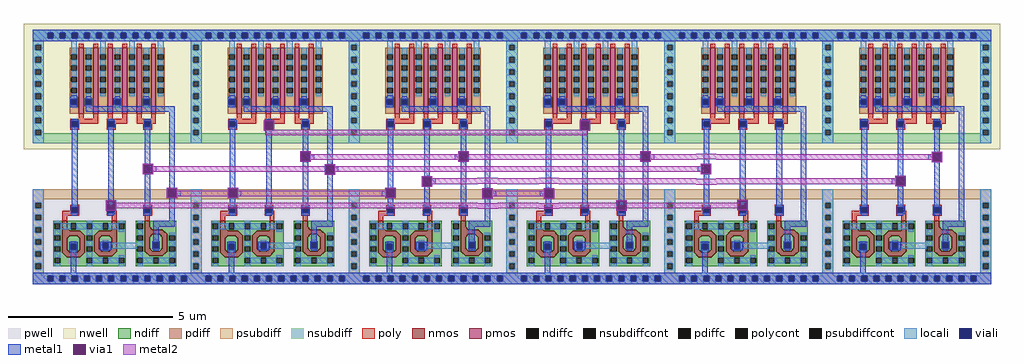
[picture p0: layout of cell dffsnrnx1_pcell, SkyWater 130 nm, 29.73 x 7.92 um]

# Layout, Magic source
magic
tech sky130A
magscale 1 2
<< metal1 >>
rect 1373 957 1437 963
rect 1373 905 1379 957
rect 1431 905 1437 957
rect 1373 899 1437 905
rect 3299 957 3363 963
rect 3299 905 3305 957
rect 3357 905 3363 957
rect 3299 899 3363 905
rect 1596 769 1660 775
rect 1596 717 1602 769
rect 1654 717 1660 769
rect 1596 711 1660 717
rect 2558 769 2622 775
rect 2558 717 2564 769
rect 2616 717 2622 769
rect 2558 711 2622 717
rect 3666 769 3730 775
rect 3666 717 3672 769
rect 3724 717 3730 769
rect 3666 711 3730 717
rect 5444 767 5508 773
rect 5444 715 5450 767
rect 5502 715 5508 767
rect 5444 709 5508 715
rect 636 693 700 699
rect 636 641 642 693
rect 694 641 700 693
rect 636 635 700 641
rect 1744 689 1808 695
rect 1744 637 1750 689
rect 1802 637 1808 689
rect 1744 631 1808 637
rect 4037 692 4101 698
rect 4037 640 4043 692
rect 4095 640 4101 692
rect 4037 634 4101 640
rect 2336 615 2400 621
rect 2336 563 2342 615
rect 2394 563 2400 615
rect 2336 557 2400 563
rect 5222 619 5286 625
rect 5222 567 5228 619
rect 5280 567 5286 619
rect 5222 561 5286 567
rect 783 547 847 553
rect 783 495 789 547
rect 841 495 847 547
rect 783 489 847 495
rect 1153 547 1217 553
rect 1153 495 1159 547
rect 1211 495 1217 547
rect 1153 489 1217 495
rect 2114 547 2178 553
rect 2114 495 2120 547
rect 2172 495 2178 547
rect 2114 489 2178 495
rect 2706 544 2770 550
rect 2706 492 2712 544
rect 2764 492 2770 544
rect 2706 486 2770 492
rect 3078 544 3142 550
rect 3078 492 3084 544
rect 3136 492 3142 544
rect 3078 486 3142 492
rect 412 470 476 476
rect 412 418 418 470
rect 470 418 476 470
rect 412 412 476 418
rect 3521 471 3585 477
rect 3521 419 3527 471
rect 3579 419 3585 471
rect 3521 413 3585 419
rect 4259 472 4323 478
rect 4259 420 4265 472
rect 4317 420 4323 472
rect 4259 414 4323 420
<< via1 >>
rect 1379 905 1431 957
rect 3305 905 3357 957
rect 1602 717 1654 769
rect 2564 717 2616 769
rect 3672 717 3724 769
rect 5450 715 5502 767
rect 642 641 694 693
rect 1750 637 1802 689
rect 4043 640 4095 692
rect 2342 563 2394 615
rect 5228 567 5280 619
rect 789 495 841 547
rect 1159 495 1211 547
rect 2120 495 2172 547
rect 2712 492 2764 544
rect 3084 492 3136 544
rect 418 418 470 470
rect 3527 419 3579 471
rect 4265 420 4317 472
<< metal2 >>
rect 1373 957 1437 963
rect 1373 905 1379 957
rect 1431 905 1437 957
rect 3299 957 3363 963
rect 3299 905 3305 957
rect 3357 905 3363 957
rect 1373 899 3363 905
rect 1382 871 3343 899
rect 1596 769 1660 775
rect 1596 717 1602 769
rect 1654 757 1660 769
rect 2558 769 2622 775
rect 2558 757 2564 769
rect 1654 723 2564 757
rect 1654 717 1660 723
rect 1596 711 1660 717
rect 2558 717 2564 723
rect 2616 757 2622 769
rect 3666 769 3730 775
rect 3666 757 3672 769
rect 2616 723 3672 757
rect 2616 717 2622 723
rect 2558 711 2622 717
rect 3666 717 3672 723
rect 3724 757 3730 769
rect 5444 767 5508 773
rect 4009 757 4129 760
rect 5444 757 5450 767
rect 3724 726 5450 757
rect 3724 723 4009 726
rect 4129 723 5450 726
rect 3724 717 3730 723
rect 3666 711 3730 717
rect 5444 715 5450 723
rect 5502 715 5508 767
rect 5444 709 5508 715
rect 636 693 700 699
rect 636 641 642 693
rect 694 683 700 693
rect 1744 689 1808 695
rect 1744 683 1750 689
rect 694 649 1750 683
rect 694 641 700 649
rect 636 635 700 641
rect 1744 637 1750 649
rect 1802 683 1808 689
rect 4037 692 4101 698
rect 4037 683 4043 692
rect 1802 649 4043 683
rect 1802 637 1808 649
rect 1744 631 1808 637
rect 4037 640 4043 649
rect 4095 640 4101 692
rect 4037 634 4101 640
rect 2336 615 2400 621
rect 2336 563 2342 615
rect 2394 609 2400 615
rect 5222 619 5286 625
rect 2678 609 2798 612
rect 3050 609 3170 612
rect 5222 609 5228 619
rect 2394 606 4009 609
rect 4129 606 5228 609
rect 2394 578 5228 606
rect 2394 575 2678 578
rect 2798 575 3050 578
rect 3170 575 5228 578
rect 2394 563 2400 575
rect 4009 572 4129 575
rect 2336 557 2400 563
rect 5222 567 5228 575
rect 5280 567 5286 619
rect 5222 561 5286 567
rect 783 547 847 553
rect 783 495 789 547
rect 841 535 847 547
rect 1153 547 1217 553
rect 1153 535 1159 547
rect 841 501 1159 535
rect 841 495 847 501
rect 783 489 847 495
rect 1153 495 1159 501
rect 1211 535 1217 547
rect 2114 547 2178 553
rect 2114 535 2120 547
rect 1211 501 2120 535
rect 1211 495 1217 501
rect 1153 489 1217 495
rect 2114 495 2120 501
rect 2172 495 2178 547
rect 2114 489 2178 495
rect 2706 544 2770 550
rect 2706 492 2712 544
rect 2764 535 2770 544
rect 3078 544 3142 550
rect 3078 535 3084 544
rect 2764 501 3084 535
rect 2764 492 2770 501
rect 2706 486 2770 492
rect 3078 492 3084 501
rect 3136 492 3142 544
rect 3078 486 3142 492
rect 412 470 476 476
rect 412 418 418 470
rect 470 461 476 470
rect 3521 471 3585 477
rect 3521 461 3527 471
rect 470 458 2678 461
rect 2798 458 3050 461
rect 3170 458 3527 461
rect 470 427 3527 458
rect 470 418 476 427
rect 2678 424 2798 427
rect 3050 424 3170 427
rect 412 412 476 418
rect 3521 419 3527 427
rect 3579 461 3585 471
rect 4259 472 4323 478
rect 4259 461 4265 472
rect 3579 427 4265 461
rect 3579 419 3585 427
rect 3521 413 3585 419
rect 4259 420 4265 427
rect 4317 420 4323 472
rect 4259 414 4323 420
use li1_M1_contact  li1_M1_contact_1
transform -1 0 666 0 -1 666
box -53 -33 29 33
use li1_M1_contact  li1_M1_contact_3
transform -1 0 814 0 -1 518
box -53 -33 29 33
use li1_M1_contact  li1_M1_contact_4
transform -1 0 1628 0 -1 740
box -53 -33 29 33
use li1_M1_contact  li1_M1_contact_5
transform -1 0 1184 0 -1 518
box -53 -33 29 33
use li1_M1_contact  li1_M1_contact_7
transform -1 0 1776 0 -1 666
box -53 -33 29 33
use li1_M1_contact  li1_M1_contact_8
transform 1 0 2146 0 1 518
box -53 -33 29 33
use li1_M1_contact  li1_M1_contact_9
transform 1 0 2590 0 1 740
box -53 -33 29 33
use li1_M1_contact  li1_M1_contact_10
transform -1 0 2368 0 -1 592
box -53 -33 29 33
use li1_M1_contact  li1_M1_contact_11
transform -1 0 2738 0 -1 518
box -53 -33 29 33
use li1_M1_contact  li1_M1_contact_13
transform -1 0 3700 0 -1 740
box -53 -33 29 33
use li1_M1_contact  li1_M1_contact_17
transform 1 0 3108 0 1 518
box -53 -33 29 33
use li1_M1_contact  li1_M1_contact_19
transform 1 0 4070 0 1 666
box -53 -33 29 33
use li1_M1_contact  li1_M1_contact_20
transform 1 0 5476 0 1 740
box -53 -33 29 33
use li1_M1_contact  li1_M1_contact_22
transform 1 0 5254 0 1 592
box -53 -33 29 33
use nand3x1_pcell  nand3x1_pcell_0
transform 1 0 0 0 1 0
box -87 -34 1049 1550
use nand3x1_pcell  nand3x1_pcell_1
transform 1 0 962 0 1 0
box -87 -34 1049 1550
use nand3x1_pcell  nand3x1_pcell_2
transform 1 0 1924 0 1 0
box -87 -34 1049 1550
use nand3x1_pcell  nand3x1_pcell_3
transform 1 0 2886 0 1 0
box -87 -34 1049 1550
use nand3x1_pcell  nand3x1_pcell_4
transform 1 0 3848 0 1 0
box -87 -34 1049 1550
use nand3x1_pcell  nand3x1_pcell_5
transform 1 0 4810 0 1 0
box -87 -34 1049 1550
<< end >>

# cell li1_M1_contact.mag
magic
tech sky130A
magscale 1 2
<< locali >>
rect -17 17 17 33
rect -17 -33 17 -17
<< viali >>
rect -17 -17 17 17
<< metal1 >>
rect -23 17 23 23
rect -53 -17 -17 17
rect 17 -17 29 17
rect -23 -23 23 -17
<< end >>

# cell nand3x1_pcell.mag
magic
tech sky130A
magscale 1 2
<< nwell >>
rect 87 1099 875 1550
rect 87 1093 220 1099
rect 87 1059 205 1093
rect 229 1059 263 1093
rect 87 1056 220 1059
rect 279 1056 875 1099
rect 87 786 875 1056
<< pwell >>
rect 34 -34 928 544
<< pdiffc >>
rect 201 1059 235 1093
rect 289 1059 323 1093
rect 465 1059 499 1093
rect 641 1059 675 1093
<< psubdiff >>
rect 34 482 928 544
rect 34 -17 57 17
rect 91 -17 131 17
rect 165 -17 205 17
rect 239 -17 279 17
rect 313 -17 353 17
rect 387 -17 427 17
rect 461 -17 501 17
rect 535 -17 575 17
rect 609 -17 649 17
rect 683 -17 723 17
rect 757 -17 797 17
rect 831 -17 871 17
rect 905 -17 928 17
rect 34 -34 928 -17
<< nsubdiff >>
rect 34 1497 928 1514
rect 34 1463 57 1497
rect 91 1463 131 1497
rect 165 1463 205 1497
rect 239 1463 279 1497
rect 313 1463 353 1497
rect 387 1463 427 1497
rect 461 1463 501 1497
rect 535 1463 575 1497
rect 609 1463 649 1497
rect 683 1463 723 1497
rect 757 1463 797 1497
rect 831 1463 871 1497
rect 905 1463 928 1497
rect 34 822 928 884
<< psubdiffcont >>
rect 57 -17 91 17
rect 131 -17 165 17
rect 205 -17 239 17
rect 279 -17 313 17
rect 353 -17 387 17
rect 427 -17 461 17
rect 501 -17 535 17
rect 575 -17 609 17
rect 649 -17 683 17
rect 723 -17 757 17
rect 797 -17 831 17
rect 871 -17 905 17
<< nsubdiffcont >>
rect 57 1463 91 1497
rect 131 1463 165 1497
rect 205 1463 239 1497
rect 279 1463 313 1497
rect 353 1463 387 1497
rect 427 1463 461 1497
rect 501 1463 535 1497
rect 575 1463 609 1497
rect 649 1463 683 1497
rect 723 1463 757 1497
rect 797 1463 831 1497
rect 871 1463 905 1497
<< poly >>
rect 147 383 195 413
rect 471 383 477 413
rect 147 377 177 383
rect 447 377 477 383
<< locali >>
rect 14 1497 943 1514
rect 14 1463 57 1497
rect 91 1463 131 1497
rect 165 1463 205 1497
rect 239 1463 279 1497
rect 313 1463 353 1497
rect 387 1463 427 1497
rect 461 1463 501 1497
rect 535 1463 575 1497
rect 609 1463 649 1497
rect 683 1463 723 1497
rect 757 1463 797 1497
rect 831 1463 871 1497
rect 905 1463 943 1497
rect 14 1446 943 1463
rect 201 1093 235 1120
rect 201 1043 235 1059
rect 289 1093 323 1112
rect 289 1043 323 1059
rect 465 1093 499 1117
rect 465 1043 499 1059
rect 641 1093 675 1112
rect 641 1043 675 1059
rect 427 182 603 216
rect 34 17 930 34
rect 34 -17 57 17
rect 91 -17 131 17
rect 165 -17 205 17
rect 239 -17 279 17
rect 313 -17 353 17
rect 387 -17 427 17
rect 461 -17 501 17
rect 535 -17 575 17
rect 609 -17 649 17
rect 683 -17 723 17
rect 757 -17 797 17
rect 831 -17 871 17
rect 905 -17 930 17
rect 34 -34 930 -17
<< viali >>
rect 57 1463 91 1497
rect 131 1463 165 1497
rect 205 1463 239 1497
rect 279 1463 313 1497
rect 353 1463 387 1497
rect 427 1463 461 1497
rect 501 1463 535 1497
rect 575 1463 609 1497
rect 649 1463 683 1497
rect 723 1463 757 1497
rect 797 1463 831 1497
rect 871 1463 905 1497
rect 201 1059 235 1093
rect 289 1059 323 1093
rect 465 1059 499 1093
rect 641 1059 675 1093
rect 205 923 239 957
rect 427 923 461 957
rect 649 923 683 957
rect 205 399 239 433
rect 427 399 461 433
rect 649 399 683 433
rect 198 176 232 210
rect 393 182 427 216
rect 700 185 734 219
rect 57 -17 91 17
rect 131 -17 165 17
rect 205 -17 239 17
rect 279 -17 313 17
rect 353 -17 387 17
rect 427 -17 461 17
rect 501 -17 535 17
rect 575 -17 609 17
rect 649 -17 683 17
rect 723 -17 757 17
rect 797 -17 831 17
rect 871 -17 905 17
<< metal1 >>
rect 34 1497 928 1514
rect 34 1463 57 1497
rect 91 1463 131 1497
rect 165 1463 205 1497
rect 239 1463 279 1497
rect 313 1463 353 1497
rect 387 1463 427 1497
rect 461 1463 501 1497
rect 535 1463 575 1497
rect 609 1463 649 1497
rect 683 1463 723 1497
rect 757 1463 797 1497
rect 831 1463 871 1497
rect 905 1463 928 1497
rect 34 1446 928 1463
rect 201 1107 235 1116
rect 193 1093 241 1107
rect 289 1099 323 1111
rect 465 1099 499 1111
rect 641 1099 675 1111
rect 193 1059 201 1093
rect 235 1059 241 1093
rect 193 1043 241 1059
rect 283 1093 330 1099
rect 283 1059 289 1093
rect 323 1059 330 1093
rect 283 1048 330 1059
rect 458 1093 506 1099
rect 458 1059 465 1093
rect 499 1059 506 1093
rect 458 1048 506 1059
rect 635 1093 681 1099
rect 635 1059 641 1093
rect 675 1059 681 1093
rect 635 1048 681 1059
rect 289 1014 831 1048
rect 205 967 239 969
rect 198 957 246 967
rect 427 963 461 969
rect 649 963 683 969
rect 198 923 205 957
rect 239 923 246 957
rect 198 915 246 923
rect 421 957 467 963
rect 421 923 427 957
rect 461 923 467 957
rect 421 917 467 923
rect 643 957 689 963
rect 643 923 649 957
rect 683 923 689 957
rect 205 439 239 915
rect 427 439 461 917
rect 643 914 689 923
rect 649 439 683 914
rect 199 433 245 439
rect 199 399 205 433
rect 239 399 245 433
rect 199 391 245 399
rect 421 433 468 439
rect 421 399 427 433
rect 461 399 468 433
rect 421 391 468 399
rect 643 433 689 439
rect 643 399 649 433
rect 683 399 689 433
rect 643 391 689 399
rect 205 383 239 391
rect 427 383 461 391
rect 649 383 683 391
rect 797 350 831 1014
rect 700 316 831 350
rect 700 225 734 316
rect 189 210 241 222
rect 189 176 198 210
rect 232 176 241 210
rect 189 167 241 176
rect 378 216 445 223
rect 378 182 393 216
rect 427 182 445 216
rect 378 173 445 182
rect 694 219 740 225
rect 694 185 700 219
rect 734 185 740 219
rect 694 179 740 185
rect 700 173 734 179
rect 198 34 232 167
rect 34 17 928 34
rect 34 -17 57 17
rect 91 -17 131 17
rect 165 -17 205 17
rect 239 -17 279 17
rect 313 -17 353 17
rect 387 -17 427 17
rect 461 -17 501 17
rect 535 -17 575 17
rect 609 -17 649 17
rect 683 -17 723 17
rect 757 -17 797 17
rect 831 -17 871 17
rect 905 -17 928 17
rect 34 -34 928 -17
use diff_ring_side  diff_ring_side_0
transform 1 0 962 0 1 0
box -87 -34 87 1550
use diff_ring_side  diff_ring_side_1
transform 1 0 0 0 1 0
box -87 -34 87 1550
use nmos_bottom  nmos_bottom_0
transform -1 0 339 0 1 75
box 0 0 248 302
use nmos_side_left  nmos_side_left_0
transform 1 0 285 0 1 75
box 0 0 248 302
use nmos_top_trim1  nmos_top_trim1_0
transform -1 0 841 0 1 75
box 0 0 248 309
use pmos2  pmos2_0
transform 1 0 103 0 1 1404
box 52 -461 352 42
use pmos2  pmos2_1
transform 1 0 279 0 1 1404
box 52 -461 352 42
use pmos2  pmos2_2
transform 1 0 455 0 1 1404
box 52 -461 352 42
use poly_li1_contact  poly_li1_contact_0
transform 0 1 223 -1 0 941
box -32 -28 34 26
use poly_li1_contact  poly_li1_contact_1
transform 0 -1 221 1 0 415
box -32 -28 34 26
use poly_li1_contact  poly_li1_contact_2
transform 0 -1 443 1 0 415
box -32 -28 34 26
use poly_li1_contact  poly_li1_contact_3
transform 0 -1 443 1 0 939
box -32 -28 34 26
use poly_li1_contact  poly_li1_contact_4
transform 0 -1 665 1 0 415
box -32 -28 34 26
use poly_li1_contact  poly_li1_contact_5
transform 0 1 667 -1 0 941
box -32 -28 34 26
<< end >>

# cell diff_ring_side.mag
magic
tech sky130A
magscale 1 2
<< nwell >>
rect -87 786 87 1550
<< pwell >>
rect -34 -34 34 544
<< psubdiff >>
rect -34 461 34 544
rect -34 427 -17 461
rect 17 427 34 461
rect -34 387 34 427
rect -34 353 -17 387
rect 17 353 34 387
rect -34 313 34 353
rect -34 279 -17 313
rect 17 279 34 313
rect -34 239 34 279
rect -34 205 -17 239
rect 17 205 34 239
rect -34 165 34 205
rect -34 131 -17 165
rect 17 131 34 165
rect -34 91 34 131
rect -34 57 -17 91
rect 17 57 34 91
rect -34 -34 34 57
<< nsubdiff >>
rect -34 1423 34 1514
rect -34 1389 -17 1423
rect 17 1389 34 1423
rect -34 1349 34 1389
rect -34 1315 -17 1349
rect 17 1315 34 1349
rect -34 1275 34 1315
rect -34 1241 -17 1275
rect 17 1241 34 1275
rect -34 1201 34 1241
rect -34 1167 -17 1201
rect 17 1167 34 1201
rect -34 1127 34 1167
rect -34 1093 -17 1127
rect 17 1093 34 1127
rect -34 1053 34 1093
rect -34 1019 -17 1053
rect 17 1019 34 1053
rect -34 979 34 1019
rect -34 945 -17 979
rect 17 945 34 979
rect -34 905 34 945
rect -34 871 -17 905
rect 17 871 34 905
rect -34 822 34 871
<< psubdiffcont >>
rect -17 427 17 461
rect -17 353 17 387
rect -17 279 17 313
rect -17 205 17 239
rect -17 131 17 165
rect -17 57 17 91
<< nsubdiffcont >>
rect -17 1389 17 1423
rect -17 1315 17 1349
rect -17 1241 17 1275
rect -17 1167 17 1201
rect -17 1093 17 1127
rect -17 1019 17 1053
rect -17 945 17 979
rect -17 871 17 905
<< locali >>
rect -34 1423 34 1514
rect -34 1389 -17 1423
rect 17 1389 34 1423
rect -34 1349 34 1389
rect -34 1315 -17 1349
rect 17 1315 34 1349
rect -34 1275 34 1315
rect -34 1241 -17 1275
rect 17 1241 34 1275
rect -34 1201 34 1241
rect -34 1167 -17 1201
rect 17 1167 34 1201
rect -34 1127 34 1167
rect -34 1093 -17 1127
rect 17 1093 34 1127
rect -34 1053 34 1093
rect -34 1019 -17 1053
rect 17 1019 34 1053
rect -34 979 34 1019
rect -34 945 -17 979
rect 17 945 34 979
rect -34 905 34 945
rect -34 871 -17 905
rect 17 871 34 905
rect -34 822 34 871
rect -34 461 34 544
rect -34 427 -17 461
rect 17 427 34 461
rect -34 387 34 427
rect -34 353 -17 387
rect 17 353 34 387
rect -34 313 34 353
rect -34 279 -17 313
rect 17 279 34 313
rect -34 239 34 279
rect -34 205 -17 239
rect 17 205 34 239
rect -34 165 34 205
rect -34 131 -17 165
rect 17 131 34 165
rect -34 91 34 131
rect -34 57 -17 91
rect 17 57 34 91
rect -34 -34 34 57
<< metal1 >>
rect -34 1446 34 1514
rect -34 -34 34 34
<< end >>

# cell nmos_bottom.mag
magic
tech sky130A
magscale 1 2
<< nmos >>
tri 146 215 162 231 se
rect 162 215 192 276
tri 56 185 86 215 se
rect 86 185 192 215
rect 56 84 86 185
tri 86 169 102 185 nw
tri 146 169 162 185 ne
tri 86 84 102 100 sw
tri 146 84 162 100 se
rect 162 84 192 185
tri 56 54 86 84 ne
rect 86 54 162 84
tri 162 54 192 84 nw
<< ndiff >>
rect 0 260 162 276
rect 0 226 10 260
rect 44 226 107 260
rect 141 231 162 260
rect 141 226 146 231
rect 0 215 146 226
tri 146 215 162 231 nw
rect 192 260 248 276
rect 192 226 204 260
rect 238 226 248 260
rect 0 188 56 215
rect 0 154 10 188
rect 44 154 56 188
tri 56 185 86 215 nw
rect 192 188 248 226
rect 0 120 56 154
rect 0 86 10 120
rect 44 86 56 120
rect 0 54 56 86
tri 86 169 102 185 se
rect 102 169 146 185
tri 146 169 162 185 sw
rect 86 135 162 169
rect 86 101 107 135
rect 141 101 162 135
rect 86 100 162 101
tri 86 84 102 100 ne
rect 102 84 146 100
tri 146 84 162 100 nw
rect 192 154 204 188
rect 238 154 248 188
rect 192 120 248 154
rect 192 86 204 120
rect 238 86 248 120
tri 56 54 86 84 sw
tri 162 54 192 84 se
rect 192 54 248 86
rect 0 50 248 54
rect 0 16 10 50
rect 44 16 204 50
rect 238 16 248 50
rect 0 0 248 16
<< ndiffc >>
rect 10 226 44 260
rect 107 226 141 260
rect 204 226 238 260
rect 10 154 44 188
rect 10 86 44 120
rect 107 101 141 135
rect 204 154 238 188
rect 204 86 238 120
rect 10 16 44 50
rect 204 16 238 50
<< poly >>
rect 162 276 192 302
<< locali >>
rect 10 260 44 276
rect 204 260 238 276
rect 44 226 107 260
rect 141 226 204 260
rect 10 188 44 226
rect 10 120 44 154
rect 204 188 238 226
rect 10 50 44 86
rect 107 135 141 151
rect 107 85 141 101
rect 204 120 238 154
rect 10 0 44 16
rect 204 50 238 86
rect 204 0 238 16
<< end >>

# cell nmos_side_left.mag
magic
tech sky130
magscale 1 2
<< nmos >>
rect 162 215 192 276
tri 57 185 87 215 se
rect 87 185 192 215
rect 57 91 87 185
tri 87 169 103 185 nw
tri 146 169 162 185 ne
tri 87 91 103 107 sw
tri 146 91 162 107 se
rect 162 91 192 185
tri 57 61 87 91 ne
rect 87 61 162 91
tri 162 61 192 91 nw
<< ndiff >>
rect 0 260 162 276
rect 0 226 10 260
rect 44 226 107 260
rect 141 226 162 260
rect 0 215 162 226
rect 192 260 248 276
rect 192 226 204 260
rect 238 226 248 260
rect 0 188 57 215
rect 0 154 10 188
rect 44 154 57 188
tri 57 185 87 215 nw
rect 0 120 57 154
rect 0 86 10 120
rect 44 86 57 120
tri 87 169 103 185 se
rect 103 169 146 185
tri 146 169 162 185 sw
rect 87 141 162 169
rect 87 107 108 141
rect 142 107 162 141
tri 87 91 103 107 ne
rect 103 91 146 107
tri 146 91 162 107 nw
rect 0 61 57 86
tri 57 61 87 91 sw
tri 162 61 192 91 se
rect 192 61 248 226
rect 0 50 248 61
rect 0 16 10 50
rect 44 16 107 50
rect 141 16 204 50
rect 238 16 248 50
rect 0 0 248 16
<< ndiffc >>
rect 10 226 44 260
rect 107 226 141 260
rect 204 226 238 260
rect 10 154 44 188
rect 10 86 44 120
rect 108 107 142 141
rect 10 16 44 50
rect 107 16 141 50
rect 204 16 238 50
<< poly >>
rect 162 276 192 302
<< locali >>
rect 10 260 44 276
rect 204 260 238 276
rect 44 226 107 260
rect 141 226 204 260
rect 10 188 44 226
rect 204 210 238 226
rect 10 120 44 154
rect 108 141 142 157
rect 108 91 142 107
rect 10 50 44 86
rect 204 50 238 66
rect 44 16 107 50
rect 141 16 204 50
rect 10 0 44 16
rect 204 0 238 16
<< end >>

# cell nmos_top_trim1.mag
magic
tech sky130
magscale 1 2
<< nmos >>
tri 146 223 162 239 se
rect 162 223 192 276
tri 56 193 86 223 se
rect 86 193 192 223
rect 56 92 86 193
tri 86 177 102 193 nw
tri 146 177 162 193 ne
tri 86 92 102 108 sw
tri 146 92 162 108 se
rect 162 92 192 193
tri 56 62 86 92 ne
rect 86 62 162 92
tri 162 62 192 92 nw
<< ndiff >>
rect 0 239 162 276
rect 0 223 146 239
tri 146 223 162 239 nw
rect 192 260 248 276
rect 192 226 204 260
rect 238 226 248 260
rect 0 188 56 223
tri 56 193 86 223 nw
rect 0 154 10 188
rect 44 154 56 188
rect 0 120 56 154
rect 0 86 10 120
rect 44 86 56 120
tri 86 177 102 193 se
rect 102 177 146 193
tri 146 177 162 193 sw
rect 86 144 162 177
rect 86 110 107 144
rect 141 110 162 144
rect 86 108 162 110
tri 86 92 102 108 ne
rect 102 92 146 108
tri 146 92 162 108 nw
rect 192 188 248 226
rect 192 154 204 188
rect 238 154 248 188
rect 192 120 248 154
rect 0 62 56 86
tri 56 62 86 92 sw
tri 162 62 192 92 se
rect 192 86 204 120
rect 238 86 248 120
rect 192 62 248 86
rect 0 50 248 62
rect 0 16 10 50
rect 44 16 107 50
rect 141 16 204 50
rect 238 16 248 50
rect 0 0 248 16
<< ndiffc >>
rect 204 226 238 260
rect 10 154 44 188
rect 10 86 44 120
rect 107 110 141 144
rect 204 154 238 188
rect 204 86 238 120
rect 10 16 44 50
rect 107 16 141 50
rect 204 16 238 50
<< poly >>
rect 162 276 192 309
<< locali >>
rect 204 260 238 276
rect 10 188 44 204
rect 204 188 238 226
rect 10 120 44 154
rect 107 144 141 161
rect 107 94 141 110
rect 204 120 238 154
rect 10 50 44 86
rect 204 50 238 86
rect 44 16 107 50
rect 141 16 204 50
rect 10 0 44 16
rect 204 0 238 16
<< end >>

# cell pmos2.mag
magic
tech sky130A
magscale 1 2
<< nwell >>
rect 52 -436 352 36
<< pmos >>
rect 144 -400 174 0
rect 232 -400 262 0
<< pdiff >>
rect 88 -38 144 0
rect 88 -72 98 -38
rect 132 -72 144 -38
rect 88 -106 144 -72
rect 88 -140 98 -106
rect 132 -140 144 -106
rect 88 -174 144 -140
rect 88 -208 98 -174
rect 132 -208 144 -174
rect 88 -242 144 -208
rect 88 -276 98 -242
rect 132 -276 144 -242
rect 88 -400 144 -276
rect 174 -38 232 0
rect 174 -72 186 -38
rect 220 -72 232 -38
rect 174 -106 232 -72
rect 174 -140 186 -106
rect 220 -140 232 -106
rect 174 -174 232 -140
rect 174 -208 186 -174
rect 220 -208 232 -174
rect 174 -242 232 -208
rect 174 -276 186 -242
rect 220 -276 232 -242
rect 174 -400 232 -276
rect 262 -38 316 0
rect 262 -72 274 -38
rect 308 -72 316 -38
rect 262 -106 316 -72
rect 262 -140 274 -106
rect 308 -140 316 -106
rect 262 -174 316 -140
rect 262 -208 274 -174
rect 308 -208 316 -174
rect 262 -242 316 -208
rect 262 -276 274 -242
rect 308 -276 316 -242
rect 262 -400 316 -276
<< pdiffc >>
rect 98 -72 132 -38
rect 98 -140 132 -106
rect 98 -208 132 -174
rect 98 -276 132 -242
rect 186 -72 220 -38
rect 186 -140 220 -106
rect 186 -208 220 -174
rect 186 -276 220 -242
rect 274 -72 308 -38
rect 274 -140 308 -106
rect 274 -208 308 -174
rect 274 -276 308 -242
<< poly >>
rect 144 0 174 26
rect 232 0 262 26
rect 144 -431 174 -400
rect 232 -431 262 -400
rect 144 -461 262 -431
<< locali >>
rect 98 -38 132 42
rect 98 -106 132 -72
rect 98 -174 132 -140
rect 98 -242 132 -208
rect 98 -293 132 -276
rect 186 -38 220 0
rect 186 -106 220 -72
rect 186 -174 220 -140
rect 186 -242 220 -208
rect 186 -293 220 -276
rect 274 -38 308 42
rect 274 -106 308 -72
rect 274 -174 308 -140
rect 274 -242 308 -208
rect 274 -293 308 -276
<< end >>

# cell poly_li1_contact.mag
magic
tech sky130
<< poly >>
rect -16 8 17 13
rect -16 -9 -8 8
rect 9 -9 17 8
rect -16 -14 17 -9
<< polycont >>
rect -8 -9 9 8
<< locali >>
rect -16 -9 -8 8
rect 9 -9 17 8
<< end >>
